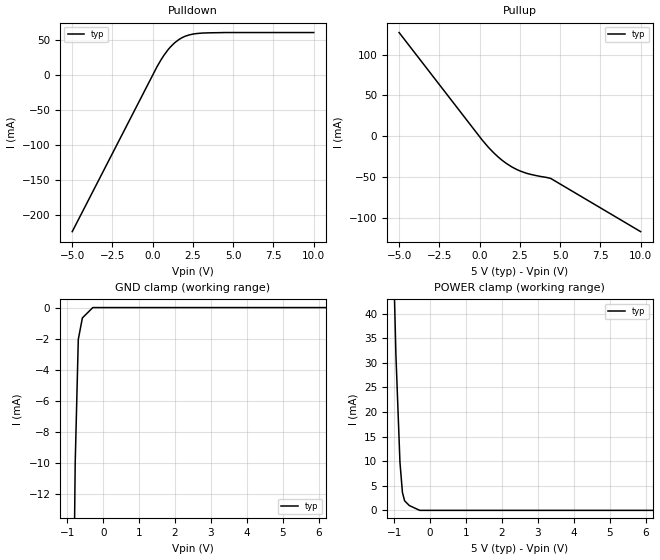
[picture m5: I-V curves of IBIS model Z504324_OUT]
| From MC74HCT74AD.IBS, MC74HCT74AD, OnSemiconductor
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| (C) COPYRIGHT 1993-2000
| MENTOR GRAPHICS CORPORATION
| ICX STANDARD LIBRARY, ICX PROJECT MODELING,
| ICX CUSTOM MODELING, ICX VENDOR MODEL
| ALL RIGHTS RESERVED.
| THE FOLLOWING ARE TRADEMARKS OR SERVICE MARKS OF
| MENTOR GRAPHICS CORPORATION:ICX (R), ICX STANDARD
| LIBRARY(R), ICX PROJECT MODELING(R), ICX CUSTOM
| MODELING(R), qualityIBIS(TM), MODELVIEWER(TM),
| AND MODELEDITOR(TM)
| ALL COPIES OF SOFTWARE, INCLUDING BUT NOT LIMITED TO
| ANY MODIFICATIONS, ENHANCEMENTS OR DERIVATIVE WORKS,
| MUST CONTAIN ALL MENTOR GRAPHICS CORPORATION'S
| NOTICES AND LEGENDS, INCLUDING THOSE EMBEDDED IN
| SOFTWARE AND THOSE AFFIXED TO SOFTWARE MEDIUM
| AND CONTAINER, AS RECEIVED FROM MENTOR GRAPHICS
| CORPORATION.
| Model Application Version 1.89 2/18/99.
[Model] Z504324_OUT
Model_type Output
Vref=0.000V
Rref=500.0Mohms
Cref=50.00pF
Vmeas=1.300V
C_comp 8.000pF NA NA
| variable typ   min   max
[Voltage Range] 5.000V NA NA
[POWER Clamp Reference] 5.000V NA NA
[Pullup Reference] 5.000V NA NA
[Pulldown Reference] 0.000V NA NA
[GND Clamp Reference] 0.000V NA NA
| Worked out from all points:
|   slope of the pulldown table from 0 to 0.75 V, typ, clamps not added: 25.1 ohm
|   slope of the pullup table from 0 to 0.75 V, typ, clamps not added: 43.6 ohm
|   GND clamp passes 1 mA (typ) near -0.61 V on its own axis
|   POWER clamp passes 1 mA (typ) near -0.58 V on its own axis
[GND Clamp]
-5V       -1.107A    NA         NA
-1.138V   -87.11mA   NA         NA
-781.1mV  -10.03mA   NA         NA
-694.8mV  -2.049mA   NA         NA
-580.9mV  -666.2uA   NA         NA
-290.5mV  0A         NA         NA
10V       0A         NA         NA
[Pulldown]
-5V       -223.9mA   NA         NA
254.3mV   11.21mA    NA         NA
694.3mV   27.97mA    NA         NA
948.5mV   35.91mA    NA         NA
1.357V    45.81mA    NA         NA
2.004V    55.15mA    NA         NA
2.557V    58.57mA    NA         NA
3.096V    59.83mA    NA         NA
10V       60.54mA    NA         NA
[Pullup]
-5V       127mA      NA         NA
159mV     -4.702mA   NA         NA
859mV     -20.08mA   NA         NA
1.388V    -29.41mA   NA         NA
1.997V    -37.65mA   NA         NA
2.51V     -42.62mA   NA         NA
3.227V    -47.09mA   NA         NA
4.418V    -51.82mA   NA         NA
10V       -117mA     NA         NA
[POWER Clamp]
-5V       1.499A     NA         NA
-1.103V   75.38mA    NA         NA
-953mV    31.7mA     NA         NA
-840mV    9.785mA    NA         NA
-771mV    3.647mA    NA         NA
-711mV    1.949mA    NA         NA
-580mV    983.8uA    NA         NA
-290mV    0A         NA         NA
10V       0A         NA         NA
[Ramp]
| variable typ min max
dV/dt_r 2.783/895.1p NA NA
dV/dt_f 2.783/577.2p NA NA
R_load = 500.0Ohms
